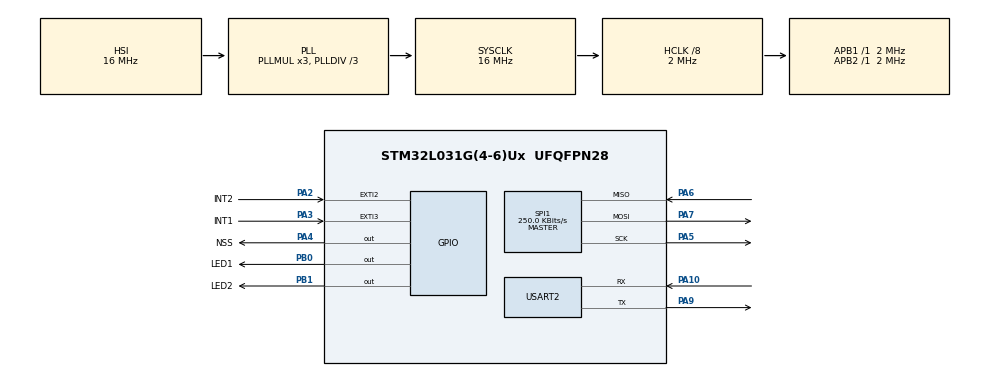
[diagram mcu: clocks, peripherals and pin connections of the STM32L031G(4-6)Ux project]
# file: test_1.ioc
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Mcu.Family=STM32L0
Mcu.Name=STM32L031G(4-6)Ux
Mcu.Package=UFQFPN28
NVIC.EXTI2_3_IRQn=true\:0\:0\:false\:false\:true\:true\:true\:true
NVIC.SPI1_IRQn=true\:0\:0\:false\:false\:true\:true\:true\:true
NVIC.TIM21_IRQn=true\:0\:0\:false\:false\:true\:true\:true\:true
NVIC.TIM2_IRQn=true\:0\:0\:false\:false\:true\:true\:true\:true
NVIC.USART2_IRQn=true\:0\:0\:false\:false\:true\:true\:true\:true
PA10.Mode=Asynchronous
PA10.Signal=USART2_RX
PA13.Mode=Serial_Wire
PA13.Signal=SYS_SWDIO
PA14.Mode=Serial_Wire
PA14.Signal=SYS_SWCLK
PA2.GPIO_Label=INT2
PA2.Signal=GPXTI2
PA3.GPIO_Label=INT1
PA3.Signal=GPXTI3
PA4.GPIO_Label=NSS
PA4.PinState=GPIO_PIN_SET
PA4.Signal=GPIO_Output
PA5.Mode=Full_Duplex_Master
PA5.Signal=SPI1_SCK
PA6.Mode=Full_Duplex_Master
PA6.Signal=SPI1_MISO
PA7.Mode=Full_Duplex_Master
PA7.Signal=SPI1_MOSI
PA9.Mode=Asynchronous
PA9.Signal=USART2_TX
PB0.GPIO_Label=LED1
PB0.Signal=GPIO_Output
PB1.GPIO_Label=LED2
PB1.Signal=GPIO_Output
PC14-OSC32_IN.Mode=LSE-External-Oscillator
PC14-OSC32_IN.Signal=RCC_OSC32_IN
PC15-OSC32_OUT.Mode=LSE-External-Oscillator
PC15-OSC32_OUT.Signal=RCC_OSC32_OUT
ProjectManager.HeapSize=0x200
ProjectManager.StackSize=0x400
ProjectManager.TargetToolchain=STM32CubeIDE
RCC.AHBCLKDivider=RCC_SYSCLK_DIV8
RCC.AHBFreq_Value=2000000
RCC.APB1Freq_Value=2000000
RCC.APB1TimFreq_Value=2000000
RCC.APB2Freq_Value=2000000
RCC.APB2TimFreq_Value=2000000
RCC.HCLKFreq_Value=2000000
RCC.HSE_VALUE=8000000
RCC.HSI16_VALUE=16000000
RCC.HSI_VALUE=16000000
RCC.MSI_VALUE=2097000
RCC.PLLDIV=RCC_PLLDIV_3
RCC.RTCClockSelectionVirtual=RCC_RTCCLKSOURCE_LSE
RCC.SYSCLKFreq_VALUE=16000000
RCC.SYSCLKSource=RCC_SYSCLKSOURCE_PLLCLK
RCC.VCOOutputFreq_Value=48000000
RTC.Format=RTC_FORMAT_BIN
RTC.Hours=14
RTC.Minutes=52
RTC.Seconds=0
RTC.StoreOperation=RTC_STOREOPERATION_RESET
SPI1.BaudRatePrescaler=SPI_BAUDRATEPRESCALER_8
SPI1.CLKPhase=SPI_PHASE_2EDGE
SPI1.CLKPolarity=SPI_POLARITY_HIGH
SPI1.CalculateBaudRate=250.0 KBits/s
SPI1.Direction=SPI_DIRECTION_2LINES
SPI1.Mode=SPI_MODE_MASTER
SPI1.VirtualType=VM_MASTER
TIM2.Period=10000
TIM2.Prescaler=200
TIM21.Period=10000
TIM21.Prescaler=200
USART2.VirtualMode-Asynchronous=VM_ASYNC
VP_RTC_VS_RTC_Activate.Mode=RTC_Enabled
VP_RTC_VS_RTC_Calendar.Mode=RTC_Calendar
VP_TIM21_VS_ClockSourceINT.Mode=Internal
VP_TIM2_VS_ClockSourceINT.Mode=Internal
board=custom

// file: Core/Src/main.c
/* USER CODE BEGIN Header */
/**
  ******************************************************************************
  * @file           : main.c
  * @brief          : Main program body
  ******************************************************************************
  * @attention
  *
  * Copyright (c) 2022 STMicroelectronics.
  * All rights reserved.
  *
  * This software is licensed under terms that can be found in the LICENSE file
  * in the root directory of this software component.
  * If no LICENSE file comes with this software, it is provided AS-IS.
  *
  ******************************************************************************
  */
/* USER CODE END Header */
#include "main.h"

 RTC_HandleTypeDef hrtc;

SPI_HandleTypeDef hspi1;

TIM_HandleTypeDef htim2;
TIM_HandleTypeDef htim21;

UART_HandleTypeDef huart2;

void SystemClock_Config(void);
static void MX_GPIO_Init(void);
static void MX_SPI1_Init(void);
static void MX_RTC_Init(void);
static void MX_USART2_UART_Init(void);
static void MX_TIM2_Init(void);
static void MX_TIM21_Init(void);

/* USER CODE BEGIN 0 */
#define DELAY_TIME 5
uint8_t data[10];
uint8_t uart_buf[3] = "AT\r";
uint8_t atd[19]="ATD 0244C483AA8DB1\r";
uint8_t rx_buf[5];
uint8_t ring[5]= "\nRING";
RTC_TimeTypeDef sTime1;
RTC_DateTypeDef sDate1;
uint8_t buffer[20];
MemTime memtime_to_save[1000];
MemTime memtime_to_equation[1];
uint32_t events_counter=0;
uint32_t seconds_counter_motion=0;
uint32_t seconds_counter_stop=0;
uint32_t seconds_counter_substract=0;
uint32_t motion_events=0;
uint32_t hour_test;
uint32_t min_test;
uint32_t sec_test;
uint32_t seconds_counter=0;
uint32_t sitting_counter=0;
uint8_t flag_stop=0;
uint8_t test[6]="cze\r\n";
char txt[20];
//HAL_UART_Receive_IT(&huart1, (uint8_t *)aRxBuffer, 10);
/* USER CODE END 0 */

int main(void)
{

  /* MCU Configuration--------------------------------------------------------*/

  /* Reset of all peripherals, Initializes the Flash interface and the Systick. */
   HAL_Init();

  /* Configure the system clock */
  SystemClock_Config();

  /* Initialize all configured peripherals */
  MX_GPIO_Init();
  MX_SPI1_Init();
  MX_RTC_Init();
  MX_USART2_UART_Init();
  MX_TIM2_Init();
  MX_TIM21_Init();
  /* USER CODE BEGIN 2 */

bma280_init();
HAL_RTC_Init(&hrtc);
HAL_NVIC_SetPriority(USART2_IRQn, 0, 0);
HAL_NVIC_EnableIRQ(USART2_IRQn);

  /* USER CODE END 2 */

  /* Infinite loop */
  while (1)
  {

    /* USER CODE BEGIN 3 */

	  if(events_counter==2)
	  {
		  for(int i=0;i<=events_counter;i++){
			  itoa(memtime_to_save[i].Hours,txt,10);
			  HAL_UART_Transmit(&huart2, txt,strlen(txt), 1000);
			  itoa(memtime_to_save[i].Minutes,txt,10);
			  HAL_UART_Transmit(&huart2, txt,strlen(txt), 1000);
			  itoa(memtime_to_save[i].Seconds,txt,10);
			  HAL_UART_Transmit(&huart2, txt,strlen(txt), 1000);
			  HAL_UART_Transmit(&huart2, "\n",strlen("\n"), 1000);
		  }
		  events_counter=0;
	  }

  }
  /* USER CODE END 3 */
}

void SystemClock_Config(void)
{
  RCC_OscInitTypeDef RCC_OscInitStruct = {0};
  RCC_ClkInitTypeDef RCC_ClkInitStruct = {0};
  RCC_PeriphCLKInitTypeDef PeriphClkInit = {0};

  /** Configure the main internal regulator output voltage
  */
  __HAL_PWR_VOLTAGESCALING_CONFIG(PWR_REGULATOR_VOLTAGE_SCALE1);

  /** Configure LSE Drive Capability
  */
  HAL_PWR_EnableBkUpAccess();
  __HAL_RCC_LSEDRIVE_CONFIG(RCC_LSEDRIVE_LOW);

  /** Initializes the RCC Oscillators according to the specified parameters
  * in the RCC_OscInitTypeDef structure.
  */
  RCC_OscInitStruct.OscillatorType = RCC_OSCILLATORTYPE_HSI|RCC_OSCILLATORTYPE_LSE;
  RCC_OscInitStruct.LSEState = RCC_LSE_ON;
  RCC_OscInitStruct.HSIState = RCC_HSI_ON;
  RCC_OscInitStruct.HSICalibrationValue = RCC_HSICALIBRATION_DEFAULT;
  RCC_OscInitStruct.PLL.PLLState = RCC_PLL_ON;
  RCC_OscInitStruct.PLL.PLLSource = RCC_PLLSOURCE_HSI;
  RCC_OscInitStruct.PLL.PLLMUL = RCC_PLLMUL_3;
  RCC_OscInitStruct.PLL.PLLDIV = RCC_PLLDIV_3;
  if (HAL_RCC_OscConfig(&RCC_OscInitStruct) != HAL_OK)
  {
    Error_Handler();
  }

  /** Initializes the CPU, AHB and APB buses clocks
  */
  RCC_ClkInitStruct.ClockType = RCC_CLOCKTYPE_HCLK|RCC_CLOCKTYPE_SYSCLK
                              |RCC_CLOCKTYPE_PCLK1|RCC_CLOCKTYPE_PCLK2;
  RCC_ClkInitStruct.SYSCLKSource = RCC_SYSCLKSOURCE_PLLCLK;
  RCC_ClkInitStruct.AHBCLKDivider = RCC_SYSCLK_DIV8;
  RCC_ClkInitStruct.APB1CLKDivider = RCC_HCLK_DIV1;
  RCC_ClkInitStruct.APB2CLKDivider = RCC_HCLK_DIV1;

  if (HAL_RCC_ClockConfig(&RCC_ClkInitStruct, FLASH_LATENCY_0) != HAL_OK)
  {
    Error_Handler();
  }
  PeriphClkInit.PeriphClockSelection = RCC_PERIPHCLK_USART2|RCC_PERIPHCLK_RTC;
  PeriphClkInit.Usart2ClockSelection = RCC_USART2CLKSOURCE_PCLK1;
  PeriphClkInit.RTCClockSelection = RCC_RTCCLKSOURCE_LSE;
  if (HAL_RCCEx_PeriphCLKConfig(&PeriphClkInit) != HAL_OK)
  {
    Error_Handler();
  }
}

static void MX_RTC_Init(void)
{

  RTC_TimeTypeDef sTime = {0};
  RTC_DateTypeDef sDate = {0};

  /** Initialize RTC Only
  */
  hrtc.Instance = RTC;
  hrtc.Init.HourFormat = RTC_HOURFORMAT_24;
  hrtc.Init.AsynchPrediv = 127;
  hrtc.Init.SynchPrediv = 255;
  hrtc.Init.OutPut = RTC_OUTPUT_DISABLE;
  hrtc.Init.OutPutRemap = RTC_OUTPUT_REMAP_NONE;
  hrtc.Init.OutPutPolarity = RTC_OUTPUT_POLARITY_HIGH;
  hrtc.Init.OutPutType = RTC_OUTPUT_TYPE_OPENDRAIN;
  if (HAL_RTC_Init(&hrtc) != HAL_OK)
  {
    Error_Handler();
  }

  /** Initialize RTC and set the Time and Date
  */
  sTime.Hours = 14;
  sTime.Minutes = 52;
  sTime.Seconds = 0;
  sTime.DayLightSaving = RTC_DAYLIGHTSAVING_NONE;
  sTime.StoreOperation = RTC_STOREOPERATION_RESET;
  if (HAL_RTC_SetTime(&hrtc, &sTime, RTC_FORMAT_BIN) != HAL_OK)
  {
    Error_Handler();
  }
  sDate.WeekDay = RTC_WEEKDAY_MONDAY;
  sDate.Month = RTC_MONTH_JANUARY;
  sDate.Date = 1;
  sDate.Year = 0;

  if (HAL_RTC_SetDate(&hrtc, &sDate, RTC_FORMAT_BIN) != HAL_OK)
  {
    Error_Handler();
  }

}

static void MX_SPI1_Init(void)
{

  /* SPI1 parameter configuration*/
  hspi1.Instance = SPI1;
  hspi1.Init.Mode = SPI_MODE_MASTER;
  hspi1.Init.Direction = SPI_DIRECTION_2LINES;
  hspi1.Init.DataSize = SPI_DATASIZE_8BIT;
  hspi1.Init.CLKPolarity = SPI_POLARITY_HIGH;
  hspi1.Init.CLKPhase = SPI_PHASE_2EDGE;
  hspi1.Init.NSS = SPI_NSS_SOFT;
  hspi1.Init.BaudRatePrescaler = SPI_BAUDRATEPRESCALER_8;
  hspi1.Init.FirstBit = SPI_FIRSTBIT_MSB;
  hspi1.Init.TIMode = SPI_TIMODE_DISABLE;
  hspi1.Init.CRCCalculation = SPI_CRCCALCULATION_DISABLE;
  hspi1.Init.CRCPolynomial = 7;
  if (HAL_SPI_Init(&hspi1) != HAL_OK)
  {
    Error_Handler();
  }

}

static void MX_TIM2_Init(void)
{

  TIM_ClockConfigTypeDef sClockSourceConfig = {0};
  TIM_MasterConfigTypeDef sMasterConfig = {0};

  htim2.Instance = TIM2;
  htim2.Init.Prescaler = 200;
  htim2.Init.CounterMode = TIM_COUNTERMODE_UP;
  htim2.Init.Period = 10000;
  htim2.Init.ClockDivision = TIM_CLOCKDIVISION_DIV1;
  htim2.Init.AutoReloadPreload = TIM_AUTORELOAD_PRELOAD_DISABLE;
  if (HAL_TIM_Base_Init(&htim2) != HAL_OK)
  {
    Error_Handler();
  }
  sClockSourceConfig.ClockSource = TIM_CLOCKSOURCE_INTERNAL;
  if (HAL_TIM_ConfigClockSource(&htim2, &sClockSourceConfig) != HAL_OK)
  {
    Error_Handler();
  }
  sMasterConfig.MasterOutputTrigger = TIM_TRGO_RESET;
  sMasterConfig.MasterSlaveMode = TIM_MASTERSLAVEMODE_DISABLE;
  if (HAL_TIMEx_MasterConfigSynchronization(&htim2, &sMasterConfig) != HAL_OK)
  {
    Error_Handler();
  }

}

static void MX_TIM21_Init(void)
{

  TIM_ClockConfigTypeDef sClockSourceConfig = {0};
  TIM_MasterConfigTypeDef sMasterConfig = {0};

  htim21.Instance = TIM21;
  htim21.Init.Prescaler = 200;
  htim21.Init.CounterMode = TIM_COUNTERMODE_UP;
  htim21.Init.Period = 10000;
  htim21.Init.ClockDivision = TIM_CLOCKDIVISION_DIV1;
  htim21.Init.AutoReloadPreload = TIM_AUTORELOAD_PRELOAD_DISABLE;
  if (HAL_TIM_Base_Init(&htim21) != HAL_OK)
  {
    Error_Handler();
  }
  sClockSourceConfig.ClockSource = TIM_CLOCKSOURCE_INTERNAL;
  if (HAL_TIM_ConfigClockSource(&htim21, &sClockSourceConfig) != HAL_OK)
  {
    Error_Handler();
  }
  sMasterConfig.MasterOutputTrigger = TIM_TRGO_RESET;
  sMasterConfig.MasterSlaveMode = TIM_MASTERSLAVEMODE_DISABLE;
  if (HAL_TIMEx_MasterConfigSynchronization(&htim21, &sMasterConfig) != HAL_OK)
  {
    Error_Handler();
  }

}

static void MX_USART2_UART_Init(void)
{

  huart2.Instance = USART2;
  huart2.Init.BaudRate = 115200;
  huart2.Init.WordLength = UART_WORDLENGTH_8B;
  huart2.Init.StopBits = UART_STOPBITS_1;
  huart2.Init.Parity = UART_PARITY_NONE;
  huart2.Init.Mode = UART_MODE_TX_RX;
  huart2.Init.HwFlowCtl = UART_HWCONTROL_NONE;
  huart2.Init.OverSampling = UART_OVERSAMPLING_16;
  huart2.Init.OneBitSampling = UART_ONE_BIT_SAMPLE_DISABLE;
  huart2.AdvancedInit.AdvFeatureInit = UART_ADVFEATURE_NO_INIT;
  if (HAL_UART_Init(&huart2) != HAL_OK)
  {
    Error_Handler();
  }

}

static void MX_GPIO_Init(void)
{
  GPIO_InitTypeDef GPIO_InitStruct = {0};

  /* GPIO Ports Clock Enable */
  __HAL_RCC_GPIOC_CLK_ENABLE();
  __HAL_RCC_GPIOA_CLK_ENABLE();
  __HAL_RCC_GPIOB_CLK_ENABLE();

  /*Configure GPIO pin Output Level */
  HAL_GPIO_WritePin(NSS_GPIO_Port, NSS_Pin, GPIO_PIN_SET);

  /*Configure GPIO pin Output Level */
  HAL_GPIO_WritePin(GPIOB, LED1_Pin|LED2_Pin, GPIO_PIN_RESET);

  /*Configure GPIO pins : INT2_Pin INT1_Pin */
  GPIO_InitStruct.Pin = INT2_Pin|INT1_Pin;
  GPIO_InitStruct.Mode = GPIO_MODE_IT_RISING;
  GPIO_InitStruct.Pull = GPIO_NOPULL;
  HAL_GPIO_Init(GPIOA, &GPIO_InitStruct);

  /*Configure GPIO pin : NSS_Pin */
  GPIO_InitStruct.Pin = NSS_Pin;
  GPIO_InitStruct.Mode = GPIO_MODE_OUTPUT_PP;
  GPIO_InitStruct.Pull = GPIO_NOPULL;
  GPIO_InitStruct.Speed = GPIO_SPEED_FREQ_LOW;
  HAL_GPIO_Init(NSS_GPIO_Port, &GPIO_InitStruct);

  /*Configure GPIO pins : LED1_Pin LED2_Pin */
  GPIO_InitStruct.Pin = LED1_Pin|LED2_Pin;
  GPIO_InitStruct.Mode = GPIO_MODE_OUTPUT_PP;
  GPIO_InitStruct.Pull = GPIO_NOPULL;
  GPIO_InitStruct.Speed = GPIO_SPEED_FREQ_LOW;
  HAL_GPIO_Init(GPIOB, &GPIO_InitStruct);

  /* EXTI interrupt init*/
  HAL_NVIC_SetPriority(EXTI2_3_IRQn, 0, 0);
  HAL_NVIC_EnableIRQ(EXTI2_3_IRQn);

}

/* USER CODE BEGIN 4 */

//interrupt handler

void HAL_GPIO_EXTI_Callback(uint16_t GPIO_Pin)
{

	if(GPIO_Pin == INT1_Pin)
	{
		HAL_GPIO_TogglePin(GPIOB, LED1_Pin);

					if(flag_stop==1){

						flag_stop=0;
					HAL_RTC_GetTime(&hrtc, &sTime1, RTC_FORMAT_BIN);
					HAL_RTC_GetDate(&hrtc, &sDate1, RTC_FORMAT_BIN);
					HAL_RTC_GetState(&hrtc);

					seconds_counter_motion = (sTime1.Hours * 3600) + (sTime1.Minutes * 60) + (sTime1.Seconds);

					}
					sitting_counter=0;

	}
	if(GPIO_Pin == INT2_Pin)
	{
		HAL_GPIO_TogglePin(GPIOB, LED2_Pin);
		HAL_RTC_GetTime(&hrtc, &sTime1, RTC_FORMAT_BIN);
		HAL_RTC_GetDate(&hrtc, &sDate1, RTC_FORMAT_BIN);
		HAL_RTC_GetState(&hrtc);
		seconds_counter_stop = (sTime1.Hours * 3600) + (sTime1.Minutes * 60) + (sTime1.Seconds);
		seconds_counter_substract = seconds_counter_stop - seconds_counter_motion;
		if(seconds_counter_substract>DELAY_TIME)
		{
		sitting_counter=sitting_counter - DELAY_TIME;
	    convert_seconds_to_struct(seconds_counter_motion);
		events_counter++;

	convert_seconds_to_struct(seconds_counter_stop-DELAY_TIME);
		events_counter++;

		}
		flag_stop=1;

	}
}
void HAL_UART_RxCpltCallback(UART_HandleTypeDef *huart)
{
  if (huart=&huart2)
  {
	  for(int i=0; i<=10; i++)
	  		 {
	  			HAL_UART_Transmit(&huart2, test,7 , 1000);
	  		 }
  }
}

/* USER CODE END 4 */

void Error_Handler(void)
{
  __disable_irq();
  while (1)
  {
  }
}
